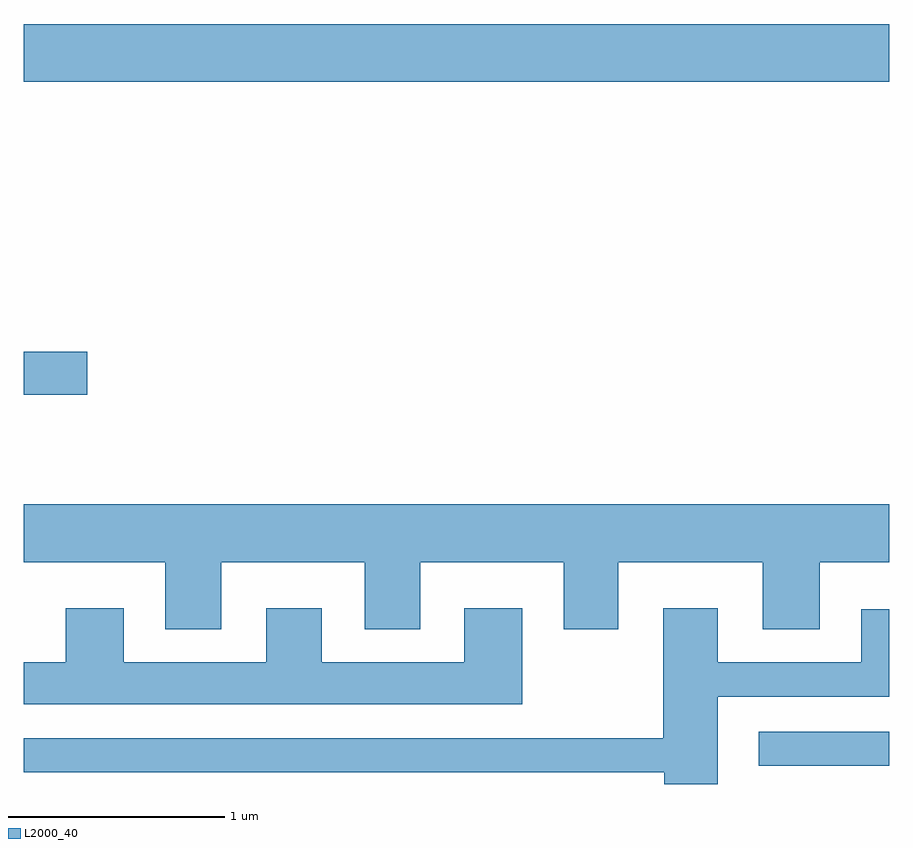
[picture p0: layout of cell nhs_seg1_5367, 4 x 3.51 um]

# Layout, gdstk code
import gdstk
lib = gdstk.Library(unit=1e-6, precision=1e-09)
def R(c, l, rs):  # rectangles x0, y0, x1, y1
    for r in rs: c.add(gdstk.rectangle(r[:2], r[2:], *l))
def P(c, l, *ps):  # polygons
    for p in ps: c.add(gdstk.Polygon(p, *l))
L2000_40 = (2000, 40)

nhs_seg1_5367 = lib.new_cell('nhs_seg1_5367')
R(nhs_seg1_5367, L2000_40, [(351.008,849.796,351.611,849.954), (347.611,851.511,347.904,851.709), (347.611,852.956,351.611,853.224)])
P(nhs_seg1_5367, L2000_40, [(348.524,850.736),(349.186,850.736),(349.186,850.426),(349.444,850.426),(349.444,850.736),(350.106,850.736),(350.106,850.426),(350.359,850.426),(350.359,850.736),(351.026,850.736),(351.026,850.426),(351.289,850.426),(351.289,850.736),(351.611,850.736),(351.611,851.004),(347.611,851.004),(347.611,850.736),(348.266,850.736),(348.266,850.426),(348.524,850.426)],
  [(349.914,850.524),(349.646,850.524),(349.646,850.274),(348.989,850.274),(348.989,850.524),(348.731,850.524),(348.731,850.274),(348.074,850.274),(348.074,850.524),(347.806,850.524),(347.806,850.274),(347.611,850.274),(347.611,850.081),(349.914,850.081)],
  [(350.819,850.116),(351.611,850.116),(351.611,850.519),(351.481,850.519),(351.481,850.274),(350.819,850.274),(350.819,850.524),(350.566,850.524),(350.566,849.924),(347.611,849.924),(347.611,849.766),(350.571,849.766),(350.571,849.712),(350.819,849.712)])

lib.write_gds('nhs_seg1_5367.gds')
